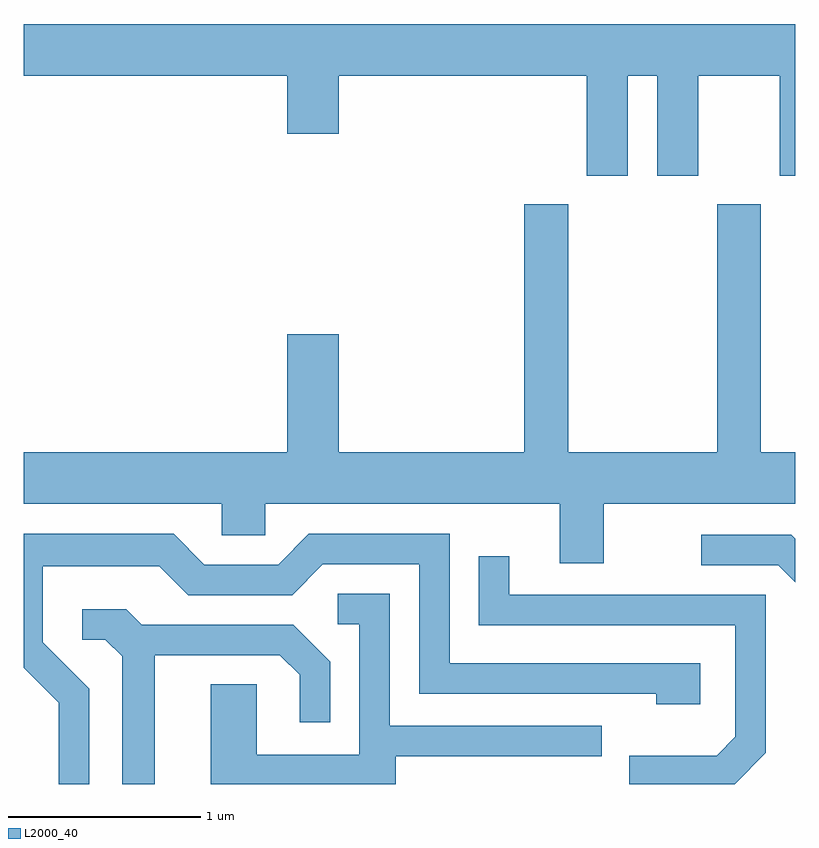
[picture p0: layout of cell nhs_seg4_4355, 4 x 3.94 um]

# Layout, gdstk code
import gdstk
lib = gdstk.Library(unit=1e-6, precision=1e-09)
def P(c, l, *ps):  # polygons
    for p in ps: c.add(gdstk.Polygon(p, *l))
L2000_40 = (2000, 40)

nhs_seg4_4355 = lib.new_cell('nhs_seg4_4355')
P(nhs_seg4_4355, L2000_40, [(316.744,1263.656),(316.896,1263.656),(316.896,1263.136),(317.109,1263.136),(317.109,1263.656),(317.531,1263.656),(317.531,1263.136),(317.611,1263.136),(317.611,1263.924),(313.611,1263.924),(313.611,1263.656),(314.976,1263.656),(314.976,1263.356),(315.244,1263.356),(315.244,1263.656),(316.531,1263.656),(316.531,1263.136),(316.744,1263.136)],
  [(316.391,1261.126),(316.619,1261.126),(316.619,1261.436),(317.611,1261.436),(317.611,1261.704),(317.434,1261.704),(317.434,1262.989),(317.206,1262.989),(317.206,1261.704),(316.434,1261.704),(316.434,1262.989),(316.206,1262.989),(316.206,1261.704),(315.244,1261.704),(315.244,1262.314),(314.976,1262.314),(314.976,1261.704),(313.611,1261.704),(313.611,1261.436),(314.636,1261.436),(314.636,1261.271),(314.864,1261.271),(314.864,1261.436),(316.391,1261.436)],
  [(313.949,1260.477),(313.709,1260.717),(313.709,1261.111),(314.314,1261.111),(314.464,1260.961),(315.002,1260.961),(315.162,1261.121),(315.661,1261.121),(315.661,1260.451),(316.891,1260.451),(316.891,1260.396),(317.119,1260.396),(317.119,1260.609),(315.819,1260.609),(315.819,1261.279),(315.089,1261.279),(314.929,1261.119),(314.547,1261.119),(314.387,1261.279),(313.611,1261.279),(313.611,1260.584),(313.791,1260.404),(313.791,1259.982),(313.949,1259.982)],
  [(317.611,1261.255),(317.592,1261.274),(317.123,1261.274),(317.123,1261.116),(317.524,1261.116),(317.611,1261.029)],
  [(317.459,1260.144),(317.459,1260.964),(316.129,1260.964),(316.129,1261.163),(315.971,1261.163),(315.971,1260.806),(317.301,1260.806),(317.301,1260.227),(317.204,1260.129),(316.751,1260.129),(316.751,1259.982),(317.298,1259.982)],
  [(315.539,1260.126),(316.608,1260.126),(316.608,1260.284),(315.509,1260.284),(315.509,1260.969),(315.238,1260.969),(315.238,1260.811),(315.351,1260.811),(315.351,1260.134),(314.819,1260.134),(314.819,1260.499),(314.581,1260.499),(314.581,1259.982),(315.539,1259.982)],
  [(314.289,1260.651),(314.939,1260.651),(315.041,1260.549),(315.041,1260.303),(315.199,1260.303),(315.199,1260.617),(315.007,1260.809),(314.222,1260.809),(314.142,1260.889),(313.913,1260.889),(313.913,1260.731),(314.034,1260.731),(314.121,1260.644),(314.121,1259.982),(314.289,1259.982)])

lib.write_gds('nhs_seg4_4355.gds')
